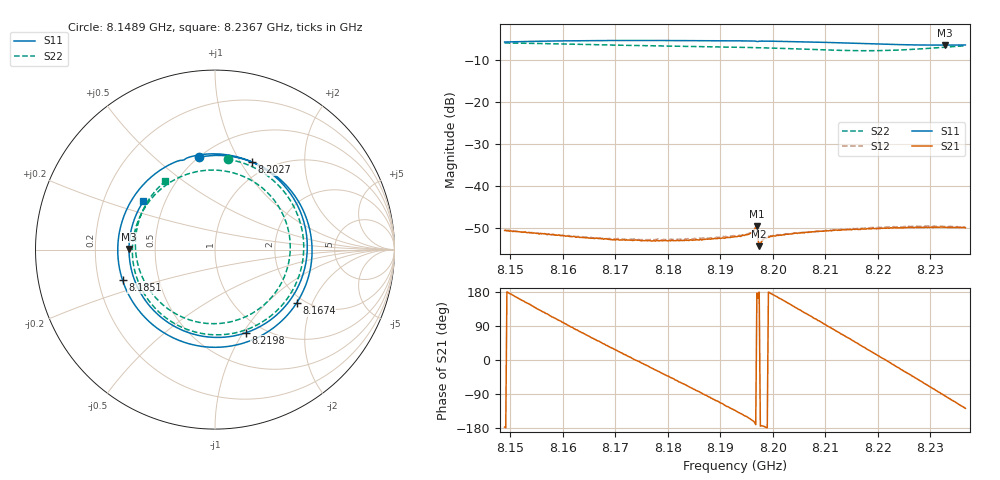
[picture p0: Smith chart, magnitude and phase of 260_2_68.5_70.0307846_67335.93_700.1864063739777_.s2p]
#  HZ  S  RI  R  50.00
! Rohde & Schwarz Vector Network Analyzer
! Rohde-Schwarz,ZNB20-2Port,1311601062101988,3.16
! Created: UTC 3/20/2024, 5:00:13 PM
! freq[Hz]  re:S11  im:S11  re:S21  im:S21  re:S12  im:S12  re:S22  im:S22
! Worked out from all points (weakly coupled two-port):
!   401 points, 8.1489 GHz to 8.2367 GHz, reference 50 ohm
!   highest |S21| = -49.42 dB at 8.197 GHz (marker M1); lowest = -54.3 dB at 8.1974 GHz (marker M2)
!   lowest |S11| = -6.4 dB at 8.2327 GHz (marker M3), VSWR 2.84, Z = 17.6 + j0.163 ohm
!   |S11| at or under -10 dB: nowhere
!   |S22| runs from -7.7 to -5.9 dB; largest |S21 - S12| = 0.00026
!   S11 on the Smith chart (normalised r, x): 8.1489 GHz: 0.50, +0.71; 8.1674 GHz: 1.82, -1.54; 8.1851 GHz: 0.30, -0.15; 8.2027 GHz: 0.83, +1.12; 8.2198 GHz: 0.84, -1.03; 8.2367 GHz: 0.38, +0.26
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8.148934e9  -0.0867 0.5148  -0.00298 -0.000159  -0.00302 -0.000122  0.0702 0.5029
8.152882e9  0.1775 0.4983  -0.00254 0.00132  -0.00251 0.00132  0.2998 0.4056
8.156831e9  0.3989 0.3564  -0.00146 0.00227  -0.00145 0.00226  0.4512 0.2144
8.16034e9  0.5163 0.1542  -0.000295 0.00257  -0.000322 0.00255  0.4943 0.00537
8.16363e9  0.5377 -0.0641  0.000751 0.00234  0.00071 0.00238  0.4525 -0.1864
8.167359e9  0.4541 -0.2985  0.00165 0.00171  0.00168 0.00172  0.3214 -0.3612
8.173062e9  0.1496 -0.5237  0.00228 0.000227  0.00234 0.000242  0.018 -0.4747
8.178326e9  -0.2044 -0.5043  0.00193 -0.00114  0.002 -0.00124  -0.2634 -0.3877
8.185126e9  -0.5153 -0.1701  0.000484 -0.00223  0.00043 -0.00236  -0.456 -0.0719
8.188855e9  -0.5342 0.0872  -0.000608 -0.00232  -0.000671 -0.00234  -0.438 0.1331
8.192803e9  -0.4214 0.3367  -0.00171 -0.00185  -0.00182 -0.00181  -0.3228 0.3177
8.196532e9  -0.211 0.4922  -0.00292 -0.000828  -0.00299 -0.000734  -0.1448 0.4234
8.196971e9  -0.1795 0.498  -0.00338 0.000187  -0.00342 0.000327  -0.121 0.4298
8.197409e9  -0.1591 0.5091  -0.00194 2.47e-05  -0.00198 0.000115  -0.0971 0.4353
8.202673e9  0.2067 0.4877  -0.00237 0.00127  -0.00233 0.00136  0.1939 0.3905
8.207499e9  0.4531 0.2586  -0.00115 0.00263  -0.00105 0.00265  0.3825 0.1871
8.213421e9  0.4859 -0.1519  0.00123 0.00277  0.00132 0.00279  0.3811 -0.163
8.219782e9  0.1704 -0.4639  0.00303 0.000749  0.00316 0.00066  0.0716 -0.4054
8.222195e9  -0.00152 -0.4891  0.00315 -0.000325  0.00326 -0.000474  -0.0885 -0.4053
8.227898e9  -0.363 -0.3156  0.00192 -0.0026  0.00186 -0.00278  -0.3922 -0.1795
8.232724e9  -0.4791 0.00357  -0.000241 -0.00325  -0.000419 -0.0033  -0.4271 0.1496
8.236672e9  -0.3994 0.2686  -0.00196 -0.00254  -0.00218 -0.00247  -0.2781 0.3803
